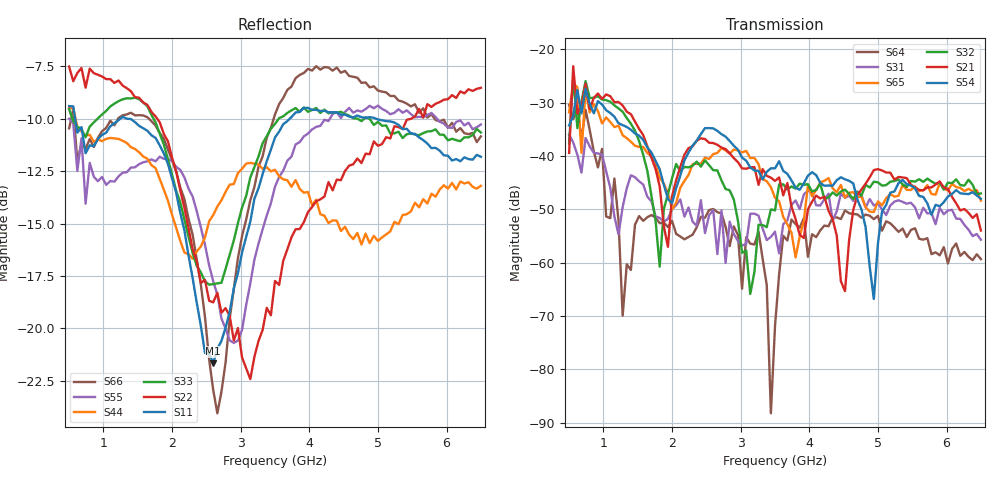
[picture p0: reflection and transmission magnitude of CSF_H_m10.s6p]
!Keysight Technologies,M9804A,MY58100912,A.14.10.03
!Date: Thursday, April 27, 2023 10:28:33
!Correction: S11(C  6-Port  )
!S12(C  6-Port  )
!S13(C  6-Port  )
!S14(C  6-Port  )
!S15(C  6-Port  )
!S16(C  6-Port  )
!S21(C  6-Port  )
!S22(C  6-Port  )
!S23(C  6-Port  )
!S24(C  6-Port  )
!S25(C  6-Port  )
!S26(C  6-Port  )
!S31(C  6-Port  )
!S32(C  6-Port  )
!S33(C  6-Port  )
!S34(C  6-Port  )
!S35(C  6-Port  )
!S36(C  6-Port  )
!S41(C  6-Port  )
!S42(C  6-Port  )
!S43(C  6-Port  )
!S44(C  6-Port  )
!S45(C  6-Port  )
!S46(C  6-Port  )
!S51(C  6-Port  )
!S52(C  6-Port  )
!S53(C  6-Port  )
!S54(C  6-Port  )
!S55(C  6-Port  )
!S56(C  6-Port  )
!S61(C  6-Port  )
!S62(C  6-Port  )
!S63(C  6-Port  )
!S64(C  6-Port  )
!S65(C  6-Port  )
!S66(C  6-Port  )
!S6P File: Measurement: :
# Hz S  RI  R 50
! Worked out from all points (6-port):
!   101 points, 500 MHz to 6.5 GHz, reference 50 ohm
!   strongest paths, dB at 500 MHz, 2 GHz, 3.5 GHz, 5 GHz, 6.5 GHz:
!     S54: -34.3, -48.8, -42.3, -56.4, -48.0
!     S21: -39.4, -47.5, -44.7, -42.5, -54.0
!     S32: -37.6, -44.2, -50.2, -44.9, -47.0
!     S65: -31.8, -50.0, -47.8, -48.5, -48.4
!     S31: -36.0, -50.0, -54.2, -48.9, -55.7
!     S64: -30.4, -52.2, -71.9, -51.2, -59.3
!   lowest |S11| = -21.7 dB at 2.6 GHz (marker M1), VSWR 1.18, Z = 42.6 + j1.97 ohm
!   |S11| at or under -10 dB: 588.2 MHz to 1.245 GHz (657 MHz wide, 71.7 % of centre); 1.349 GHz to 3.715 GHz (2.366 GHz wide, 93.4 % of centre); 4.974 GHz to end of sweep
